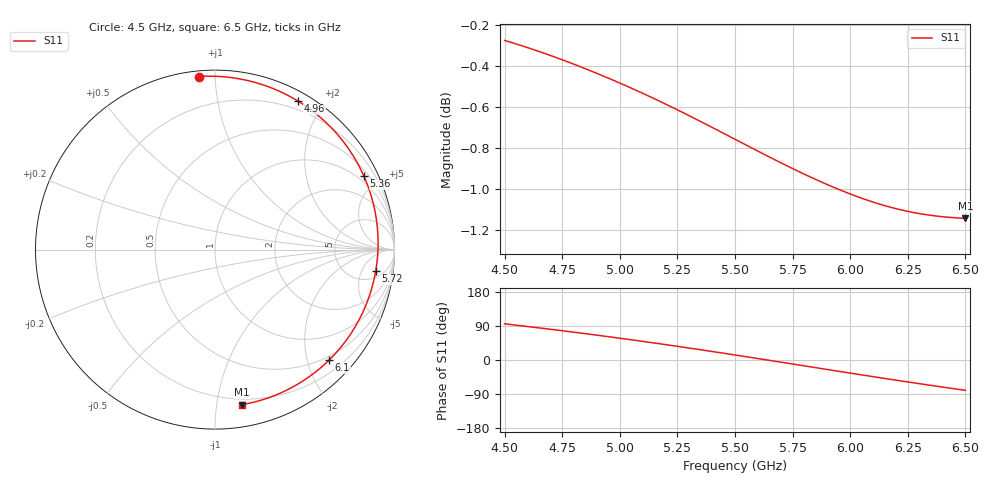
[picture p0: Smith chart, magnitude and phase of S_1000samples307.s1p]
! TOUCHSTONE file generated by CST MICROWAVE STUDIO
! Date and time: Thu Oct 27 17:22:52 2022
! Project name: L.cst
! Parameters = {Di=1.27; Epsilon_r=1.56; InnerDiameter=1.27; Length=2; Lf=10; Lg=60; OuterConductorThickness=0.2921; OuterDiameter=3.6; Wf=3; Wp=41.2; de=1.5; df=6.8; g=0.8; gx=4.19668; gy=3.73639; h=2.34; hf=1.524; px=8.25063; py=10.2415; w=9.7; wx=4.05395; wy=6.50512}
! Header version: 2018
! Port assignment regex: !\s*Touchstone port\s*([0-9]+)\s*=\s*(CST MWS port|CST DS port)\s*([0-9]+|Zmin|Zmax)\s*\(\"(.*)\"\)(\s*mode\s*([0-9]+))?.*
! Touchstone port assignment:
! Touchstone port 1 = CST MWS port 1 ("")
# GHz S DB R 50
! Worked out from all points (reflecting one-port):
!   101 points, 4.5 GHz to 6.5 GHz, reference 50 ohm
!   lowest |S11| = -1.1 dB at 6.5 GHz (marker M1), VSWR 15.23, Z = 7.89 - j58.9 ohm
!   phase of S11 starts at 95 deg and turns -175 deg over the sweep
!   S11 on the Smith chart (normalised r, x): 4.5 GHz: 0.03, +0.91; 4.96 GHz: 0.10, +1.70; 5.36 GHz: 0.74, +4.18; 5.72 GHz: 7, -9; 6.1 GHz: 0.43, -2.41; 6.5 GHz: 0.16, -1.18
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4.5  -0.28 95.4
4.58  -0.30 89.8
4.64  -0.33 85.4
4.76  -0.38 76.5
4.86  -0.42 68.7
4.96  -0.47 60.7
5  -0.48 57.5
5.12  -0.54 47.4
5.18  -0.58 42.2
5.26  -0.62 35.2
5.36  -0.68 26.2
5.44  -0.72 18.8
5.5  -0.76 13.2
5.56  -0.79 7.6
5.62  -0.83 1.9
5.72  -0.88 -7.7
5.76  -0.91 -11.5
5.82  -0.94 -17.3
5.88  -0.97 -23.1
5.94  -1.00 -28.8
6  -1.02 -34.6
6.1  -1.06 -44.0
6.18  -1.09 -51.5
6.26  -1.11 -58.8
6.32  -1.12 -64.2
6.38  -1.13 -69.6
6.44  -1.14 -74.8
6.5  -1.14 -80.0
